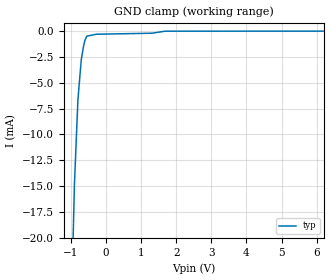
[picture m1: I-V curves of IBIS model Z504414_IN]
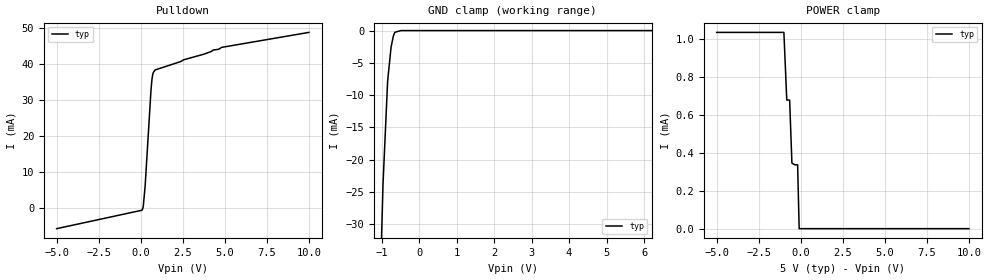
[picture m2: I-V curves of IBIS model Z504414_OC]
| YOU ARE ONLY AUTHORIZED TO USE THIS SOFTWARE
| ACCORDING TO LICENSOR'S LICENSE RESTRICTIONS.
[IBIS Ver] 3.1
[File Name] sn54ls22j.ibs
[File Rev] 2.0
[Source] Measured and created by ICX Technology
[Date] Friday 7/14/00 9:08:14 AM
[Copyright]
| (C) COPYRIGHT 1993-2000
| MENTOR GRAPHICS CORPORATION
| ICX STANDARD LIBRARY, ICX PROJECT MODELING,
| ICX CUSTOM MODELING, ICX VENDOR MODEL
| ALL RIGHTS RESERVED.
| THE FOLLOWING ARE TRADEMARKS OR SERVICE MARKS OF
| MENTOR GRAPHICS CORPORATION:ICX (R), ICX STANDARD
| LIBRARY(R), ICX PROJECT MODELING(R), ICX CUSTOM
| MODELING(R), qualityIBIS(TM), MODELVIEWER(TM),
| AND MODELEDITOR(TM)
| ALL COPIES OF SOFTWARE, INCLUDING BUT NOT LIMITED TO
| ANY MODIFICATIONS, ENHANCEMENTS OR DERIVATIVE WORKS,
| MUST CONTAIN ALL MENTOR GRAPHICS CORPORATION'S
| NOTICES AND LEGENDS, INCLUDING THOSE EMBEDDED IN
| SOFTWARE AND THOSE AFFIXED TO SOFTWARE MEDIUM
| AND CONTAINER, AS RECEIVED FROM MENTOR GRAPHICS
| CORPORATION.
|  ZAP Model Builder 2.7
[Component] SN54LS22J
[Manufacturer] OnSemiconductor
[Package]
| variable   typ   min   max
R_pkg  .21ohms NA NA
L_pkg  4.543nH NA NA
C_pkg  1.8pF NA NA
[Pin] signal_name  model_name  R_pin  L_pin C_pin
1 A Z504414_IN .22 6.757n 2.434p
2 B Z504414_IN .212 4.757n 1.941p
3 NC NC .204 3.257n 1.448p
4 C Z504414_IN .196 2.257n .955p
5 D Z504414_IN .204 3.257n 1.448p
6 Y Z504414_OC .212 4.757n 1.941p
7 GND GND .22 6.757n 2.434p
8 Y Z504414_OC .22 6.757n 2.434p
9 A Z504414_IN .212 4.757n 1.941p
10 B Z504414_IN .204 3.257n 1.448p
11 NC NC .196 2.257n .955p
12 C Z504414_IN .204 3.257n 1.448p
13 D Z504414_IN .212 4.757n 1.941p
14 VCC POWER .22 6.757n 2.434p
| Models and submodels in the file (2): Z504414_IN (Input), Z504414_OC (Open_sink)
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| (C) COPYRIGHT 1993-2000
| MENTOR GRAPHICS CORPORATION
| ICX STANDARD LIBRARY, ICX PROJECT MODELING,
| ICX CUSTOM MODELING, ICX VENDOR MODEL
| ALL RIGHTS RESERVED.
| THE FOLLOWING ARE TRADEMARKS OR SERVICE MARKS OF
| MENTOR GRAPHICS CORPORATION:ICX (R), ICX STANDARD
| LIBRARY(R), ICX PROJECT MODELING(R), ICX CUSTOM
| MODELING(R), qualityIBIS(TM), MODELVIEWER(TM),
| AND MODELEDITOR(TM)
| ALL COPIES OF SOFTWARE, INCLUDING BUT NOT LIMITED TO
| ANY MODIFICATIONS, ENHANCEMENTS OR DERIVATIVE WORKS,
| MUST CONTAIN ALL MENTOR GRAPHICS CORPORATION'S
| NOTICES AND LEGENDS, INCLUDING THOSE EMBEDDED IN
| SOFTWARE AND THOSE AFFIXED TO SOFTWARE MEDIUM
| AND CONTAINER, AS RECEIVED FROM MENTOR GRAPHICS
| CORPORATION.
| Model Application Version 1.89 2/18/99.
[Model] Z504414_IN
Model_type Input
Vinl = 800.0mV
Vinh = 2.000V
C_comp 4.000pF NA NA
| variable typ   min   max
[Voltage Range] 5.000V NA NA
[GND Clamp Reference] 0.000V NA NA
[POWER Clamp Reference] 5.000V NA NA
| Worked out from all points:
|   GND clamp passes 1 mA (typ) near -0.61 V on its own axis
[GND Clamp]
-5V       -593.5mA   NA         NA
-897.8mV  -14.8mA    NA         NA
-799.4mV  -6.669mA   NA         NA
-702.8mV  -2.755mA   NA         NA
-633.4mV  -1.364mA   NA         NA
-600.4mV  -908.9uA   NA         NA
-545.9mV  -486.9uA   NA         NA
-272.9mV  -300.7uA   NA         NA
1.307V    -204.1uA   NA         NA
1.684V    -7.379uA   NA         NA
10V       2.719uA    NA         NA
[POWER Clamp]
-5V       0A         NA         NA
10V       0A         NA         NA
| (C) COPYRIGHT 1993-2000
| MENTOR GRAPHICS CORPORATION
| ICX STANDARD LIBRARY, ICX PROJECT MODELING,
| ICX CUSTOM MODELING, ICX VENDOR MODEL
| ALL RIGHTS RESERVED.
| THE FOLLOWING ARE TRADEMARKS OR SERVICE MARKS OF
| MENTOR GRAPHICS CORPORATION:ICX (R), ICX STANDARD
| LIBRARY(R), ICX PROJECT MODELING(R), ICX CUSTOM
| MODELING(R), qualityIBIS(TM), MODELVIEWER(TM),
| AND MODELEDITOR(TM)
| ALL COPIES OF SOFTWARE, INCLUDING BUT NOT LIMITED TO
| ANY MODIFICATIONS, ENHANCEMENTS OR DERIVATIVE WORKS,
| MUST CONTAIN ALL MENTOR GRAPHICS CORPORATION'S
| NOTICES AND LEGENDS, INCLUDING THOSE EMBEDDED IN
| SOFTWARE AND THOSE AFFIXED TO SOFTWARE MEDIUM
| AND CONTAINER, AS RECEIVED FROM MENTOR GRAPHICS
| CORPORATION.
| Model Application Version 1.89 2/18/99.
[Model] Z504414_OC
Model_type Open_sink
Vref=5.000V
Rref=2.001kohms
Cref=15.00pF
Vmeas=1.300V
C_comp 8.000pF NA NA
| variable typ   min   max
[Voltage Range] 5.000V NA NA
[POWER Clamp Reference] 5.000V NA NA
[Pullup Reference] 5.000V NA NA
[Pulldown Reference] 0.000V NA NA
[GND Clamp Reference] 0.000V NA NA
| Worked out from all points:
|   slope of the pulldown table from 0 to 0.75 V, typ, clamps not added: 19.6 ohm
|   GND clamp passes 1 mA (typ) near -0.69 V on its own axis
|   POWER clamp passes 1 mA (typ) near -0.98 V on its own axis
[GND Clamp]
-5V       -1.189A    NA         NA
-1.09V    -51.48mA   NA         NA
-960.7mV  -23.85mA   NA         NA
-837.5mV  -7.875mA   NA         NA
-745.3mV  -2.56mA    NA         NA
-683.6mV  -823uA     NA         NA
-644.5mV  -263.3uA   NA         NA
-483.4mV  0A         NA         NA
10V       0A         NA         NA
[Pulldown]
-5V       -5.622mA   NA         NA
107.4mV   -276.7uA   NA         NA
151.4mV   526.1uA    NA         NA
262.3mV   6.178mA    NA         NA
611.3mV   32.79mA    NA         NA
667.2mV   35.69mA    NA         NA
708.3mV   36.93mA    NA         NA
747.1mV   37.62mA    NA         NA
864.2mV   38.34mA    NA         NA
4.605V    44.02mA    NA         NA
4.805V    44.57mA    NA         NA
10V       48.72mA    NA         NA
[POWER Clamp]
-5V       1.035mA    NA         NA
-1.001V   1.035mA    NA         NA
-830mV    678.2uA    NA         NA
-659mV    678.2uA    NA         NA
-524mV    346uA      NA         NA
-354.5mV  336.6uA    NA         NA
-185mV    336.6uA    NA         NA
-92.5mV   0A         NA         NA
10V       0A         NA         NA
[Ramp]
| variable typ min max
dV/dt_r 2.747/15.61n NA NA
dV/dt_f 2.747/6.276n NA NA
R_load = 250.0Ohms
